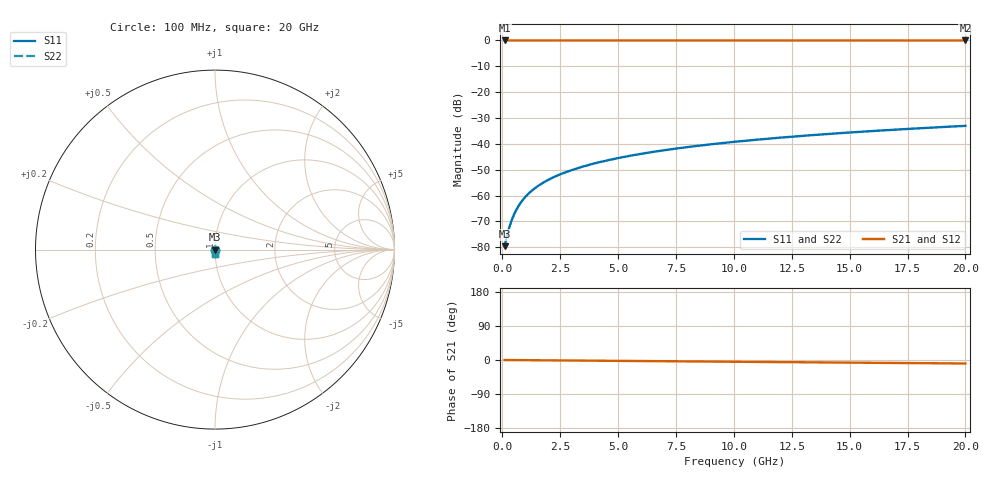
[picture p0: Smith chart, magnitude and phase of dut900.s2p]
! Touchstone file exported from HFSS 2026.1.0
!  File:  C:/ffzhzh/LocalFiles/Ansys_Project_Files/temp_train_TSV_900_1783186160_51560.aedt
!  Generated:  01:30:33 AM Jul  5, 2026
!  Design:  TSV
!  Project:  temp_train_TSV_900_1783186160_51560
! Variables:
!  h_bsmrdl = 2um
!  h_ox = 20um
!  h_rdl = 5um
!  h_sub = 92.81um
!  h_tmrdl = 5um
!  h_tsv = 92.81um
!  h_via = 3um
!  l_bsmrdl = 300um
!  l_sub = 429.12um
!  l_tmrdl = 200um
!  m_sub = 200um
!  pitch = 50.93um
!  r_tsv = 14.56um
!  s_tmrdl = 10um
!  w_bsmrdl = 18um
!  w_sub = 500um
!  w_tmrdl = 12um
!  x_tsv_center1 = 206um
!  x_tsv_center2 = 524um
!  x_tsv_center3 = 736um
!  x_tsv_center4 = 1054um
!  x_tsv_center5 = 1266um
!  x_tsv_center6 = 1584um
# GHz S MA R 50.000000
! Terminal data exported
! Port[1] = TSV1_1_T1
! Port[2] = TSV1_1_T2
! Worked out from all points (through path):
!   200 points, 100 MHz to 20 GHz, reference 50 ohm
!   highest |S21| = 0.00 dB at 100 MHz (marker M1); lowest = 0.0 dB at 20 GHz (marker M2)
!   group delay of S21, straight-line fit = 1.28 ps
!   lowest |S11| = -79.6 dB at 100 MHz (marker M3), VSWR 1.00, Z = 50 - j0.00639 ohm
!   |S11| at or under -10 dB: start of sweep to end of sweep
!   |S22| runs from -79.6 to -33.0 dB; largest |S21 - S12| = 2.2e-15
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0.1  0.0001051 -37.5  0.9999 -0.0  0.9999 -0.0  0.0001051 -37.5
! Gamma 0 0 0 0
! Port Impedance 50 0 50 0
0.2  0.0001657 -53.1  0.9999 -0.1  0.9999 -0.1  0.0001657 -53.1
0.3  0.0002421 -59.6  0.9999 -0.1  0.9999 -0.1  0.0002421 -59.6
0.4  0.000329 -63.1  0.9999 -0.2  0.9999 -0.2  0.000329 -63.1
0.5  0.0004237 -65.6  0.9998 -0.2  0.9998 -0.2  0.0004237 -65.6
0.6  0.0005236 -67.6  0.9998 -0.3  0.9998 -0.3  0.0005236 -67.6
0.8  0.0007328 -70.8  0.9998 -0.4  0.9998 -0.4  0.0007328 -70.8
1.1  0.001056 -74.4  0.9997 -0.5  0.9997 -0.5  0.001056 -74.4
1.3  0.001272 -76.2  0.9997 -0.6  0.9997 -0.6  0.001272 -76.2
1.5  0.001489 -77.7  0.9997 -0.7  0.9997 -0.7  0.001489 -77.7
1.8  0.001813 -79.4  0.9996 -0.8  0.9996 -0.8  0.001813 -79.4
2.1  0.002138 -80.7  0.9996 -1.0  0.9996 -1.0  0.002138 -80.7
2.7  0.002787 -82.6  0.9996 -1.3  0.9996 -1.3  0.002787 -82.6
3.5  0.003658 -84.2  0.9995 -1.6  0.9995 -1.6  0.003658 -84.2
4.2  0.004425 -85.2  0.9995 -2.0  0.9995 -2.0  0.004425 -85.2
5  0.00531 -86.2  0.9994 -2.3  0.9994 -2.3  0.00531 -86.2
6.8  0.007319 -87.9  0.9993 -3.1  0.9993 -3.1  0.007319 -87.9
8.3  0.009006 -89.1  0.9992 -3.8  0.9992 -3.8  0.009006 -89.1
10.1  0.01104 -90.4  0.9991 -4.7  0.9991 -4.7  0.01104 -90.4
13.4  0.01478 -92.6  0.999 -6.2  0.999 -6.2  0.01478 -92.6
16.7  0.01853 -94.5  0.9988 -7.7  0.9988 -7.7  0.01853 -94.5
20  0.0223 -96.3  0.9986 -9.2  0.9986 -9.2  0.0223 -96.3
